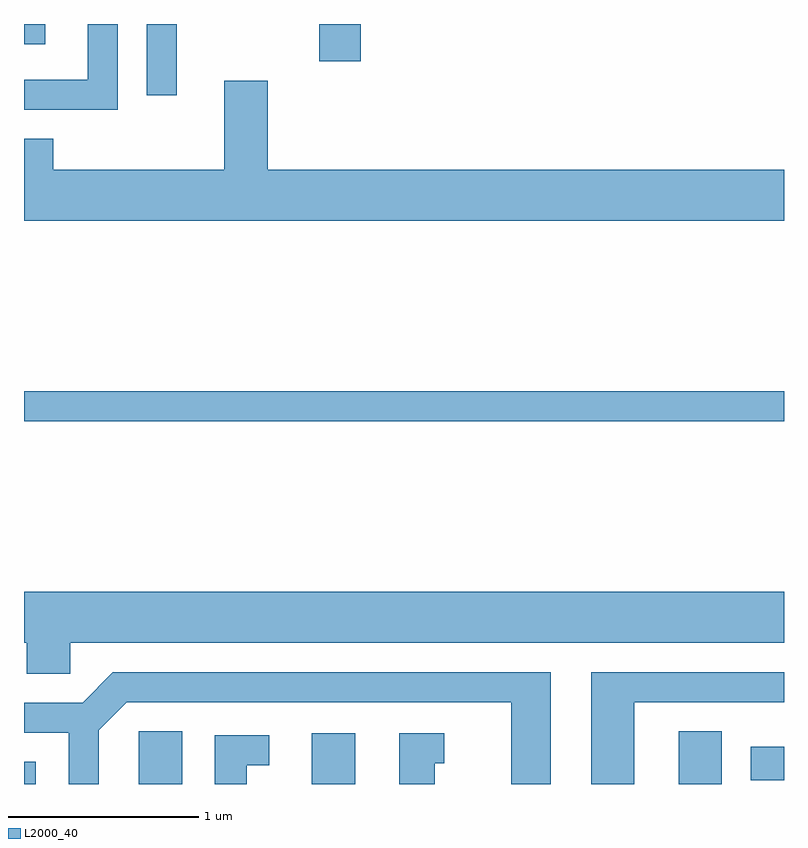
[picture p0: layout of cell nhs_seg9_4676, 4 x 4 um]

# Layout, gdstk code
import gdstk
lib = gdstk.Library(unit=1e-6, precision=1e-09)
def R(c, l, rs):  # rectangles x0, y0, x1, y1
    for r in rs: c.add(gdstk.rectangle(r[:2], r[2:], *l))
def P(c, l, *ps):  # polygons
    for p in ps: c.add(gdstk.Polygon(p, *l))
L2000_40 = (2000, 40)

nhs_seg9_4676 = lib.new_cell('nhs_seg9_4676')
R(nhs_seg9_4676, L2000_40, [(323.611,1964.432,323.674,1964.549), (324.216,1964.432,324.444,1964.709), (325.126,1964.432,325.354,1964.699), (327.056,1964.432,327.284,1964.709), (327.436,1964.451,327.611,1964.629), (323.611,1966.341,327.611,1966.499), (324.256,1968.058,324.414,1968.432), (325.166,1968.236,325.384,1968.432), (323.611,1968.326,323.724,1968.432)])
P(nhs_seg9_4676, L2000_40, [(324.104,1968.432),(323.946,1968.432),(323.946,1968.139),(323.611,1968.139),(323.611,1967.981),(324.104,1967.981)],
  [(327.611,1967.664),(324.894,1967.664),(324.894,1968.134),(324.666,1968.134),(324.666,1967.664),(323.764,1967.664),(323.764,1967.829),(323.611,1967.829),(323.611,1967.396),(327.611,1967.396)],
  [(323.854,1965.176),(327.611,1965.176),(327.611,1965.444),(323.611,1965.444),(323.611,1965.176),(323.626,1965.176),(323.626,1965.011),(323.854,1965.011)],
  [(324.004,1964.714),(324.152,1964.861),(326.176,1964.861),(326.176,1964.432),(326.384,1964.432),(326.384,1965.019),(324.079,1965.019),(323.919,1964.859),(323.611,1964.859),(323.611,1964.701),(323.846,1964.701),(323.846,1964.432),(324.004,1964.432)],
  [(326.824,1964.861),(327.611,1964.861),(327.611,1965.019),(326.596,1965.019),(326.596,1964.432),(326.824,1964.432)],
  [(325.774,1964.541),(325.823,1964.541),(325.823,1964.699),(325.586,1964.699),(325.586,1964.432),(325.774,1964.432)],
  [(324.784,1964.531),(324.903,1964.531),(324.903,1964.689),(324.616,1964.689),(324.616,1964.432),(324.784,1964.432)])

lib.write_gds('nhs_seg9_4676.gds')
